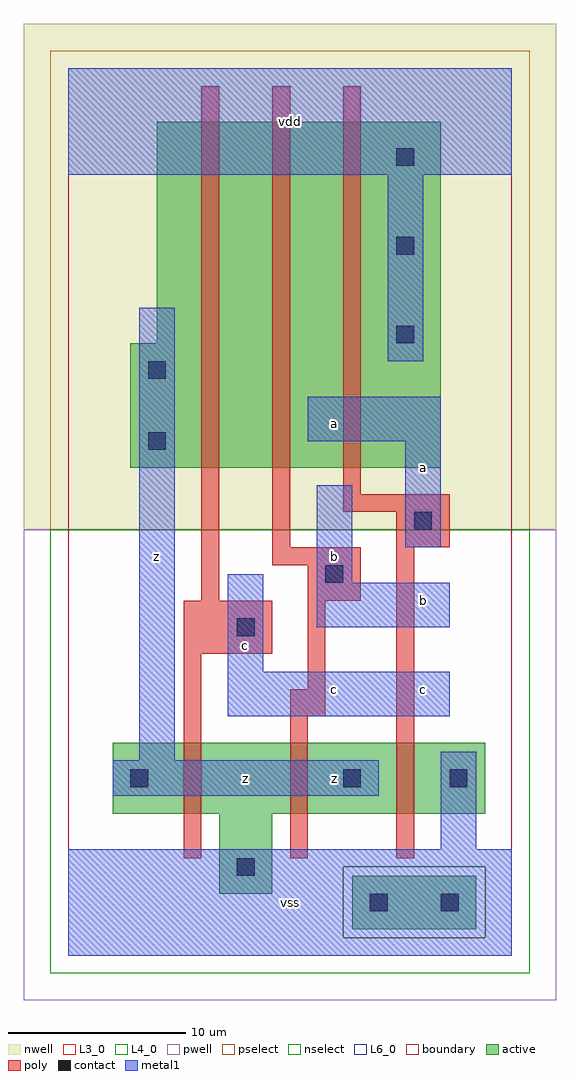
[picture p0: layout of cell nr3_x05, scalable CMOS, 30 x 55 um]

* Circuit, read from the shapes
.subckt nr3_x05 a b c vdd vss z
M1 vss c z vss nfet w=4u l=1u
M2 z b vss vss nfet w=4u l=1u
M3 vss a z vss nfet w=4u l=1u
M4 n1 c z n2 pfet w=19.5u l=1u
M5 n3 b n1 n2 pfet w=19.5u l=1u
M6 vdd a n3 n2 pfet w=19.5u l=1u
.ends

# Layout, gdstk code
import gdstk
lib = gdstk.Library(unit=1e-6, precision=1e-09)
def R(c, l, rs):  # rectangles x0, y0, x1, y1
    for r in rs: c.add(gdstk.rectangle(r[:2], r[2:], *l))
def A(c, l, x, y, w, h, nx, ny, dx, dy):  # array of equal rectangles
    R(c, l, [(x+i*dx, y+j*dy, x+i*dx+w, y+j*dy+h) for i in range(nx) for j in range(ny)])
L3_0 = (3, 0)
L4_0 = (4, 0)
L6_0 = (6, 0)
contact = (25, 0)
pwell = (41, 0)
nwell = (42, 0)
active = (43, 0)
pselect = (44, 0)
nselect = (45, 0)
poly = (46, 0)
metal1 = (49, 0)
boundary = (63, 0)

nr3_x05 = lib.new_cell('nr3_x05')
R(nr3_x05, L3_0, [(8.5,3.5,11.5,8), (2.5,8,23.5,12)])
R(nr3_x05, L4_0, [(3.5,27.5,21,34.5), (5,34.5,21,47)])
R(nr3_x05, L6_0, [(16,1.5,23,4.5)])
A(nr3_x05, contact, 18.5, 34.5, 1, 1, 1, 3, 0, 5)
R(nr3_x05, contact, [(17,2.5,18,3.5), (21,2.5,22,3.5), (9.5,4.5,10.5,5.5), (3.5,9.5,4.5,10.5), (15.5,9.5,16.5,10.5), (21.5,9.5,22.5,10.5), (9.5,18,10.5,19), (14.5,21,15.5,22), (19.5,24,20.5,25), (4.5,28.5,5.5,29.5), (4.5,32.5,5.5,33.5)])
R(nr3_x05, pwell, [(-2.5,-2.5,27.5,24)])
R(nr3_x05, nwell, [(-2.5,24,27.5,52.5)])
R(nr3_x05, active, [(16,1.5,23,4.5), (8.5,3.5,11.5,8), (2.5,8,23.5,12), (3.5,27.5,21,34.5), (5,34.5,21,47)])
R(nr3_x05, pselect, [(15.5,1,23.5,5), (-1,24,26,51)])
R(nr3_x05, nselect, [(-1,-1,26,1), (-1,1,15.5,5), (23.5,1,26,5), (-1,5,26,24)])
R(nr3_x05, poly, [(6.5,5.5,7.5,17), (12.5,5.5,13.5,13.5), (18.5,5.5,19.5,23), (12.5,13.5,14.5,15), (13.5,15,14.5,20), (6.5,17,11.5,20), (7.5,20,8.5,49), (13.5,20,16.5,22), (11.5,22,16.5,23), (11.5,23,12.5,49), (18.5,23,21.5,25), (15.5,25,21.5,26), (15.5,26,16.5,49)])
R(nr3_x05, metal1, [(0,0,25,6), (0,0,25,6), (21,6,23,11.5), (21,6,23,11.5), (2.5,9,17.5,11), (2.5,9,17.5,11), (4,11,6,36.5), (4,11,6,36.5), (9,13.5,21.5,16), (9,13.5,21.5,16), (9,16,11,21.5), (9,16,11,21.5), (14,18.5,21.5,21), (14,18.5,21.5,21), (14,21,16,26.5), (14,21,16,26.5), (19,23,21,29), (19,23,21,29), (13.5,29,21,31.5), (13.5,29,21,31.5), (18,33.5,20,44), (18,33.5,20,44), (0,44,25,50), (0,44,25,50)])
R(nr3_x05, boundary, [(0,0,25,50)])
nr3_x05.add(gdstk.Label('z', (10,10), layer=49, texttype=0))
nr3_x05.add(gdstk.Label('z', (5,22.5), layer=49, texttype=0))
nr3_x05.add(gdstk.Label('c', (10,17.5), layer=49, texttype=0))
nr3_x05.add(gdstk.Label('vss', (12.5,3), layer=49, texttype=0))
nr3_x05.add(gdstk.Label('z', (15,10), layer=49, texttype=0))
nr3_x05.add(gdstk.Label('b', (15,22.5), layer=49, texttype=0))
nr3_x05.add(gdstk.Label('c', (15,15), layer=49, texttype=0))
nr3_x05.add(gdstk.Label('a', (15,30), layer=49, texttype=0))
nr3_x05.add(gdstk.Label('vdd', (12.5,47), layer=49, texttype=0))
nr3_x05.add(gdstk.Label('b', (20,20), layer=49, texttype=0))
nr3_x05.add(gdstk.Label('c', (20,15), layer=49, texttype=0))
nr3_x05.add(gdstk.Label('a', (20,27.5), layer=49, texttype=0))

lib.write_gds('nr3_x05.gds')
